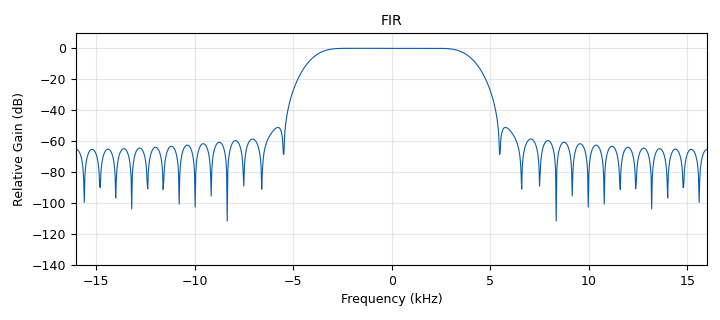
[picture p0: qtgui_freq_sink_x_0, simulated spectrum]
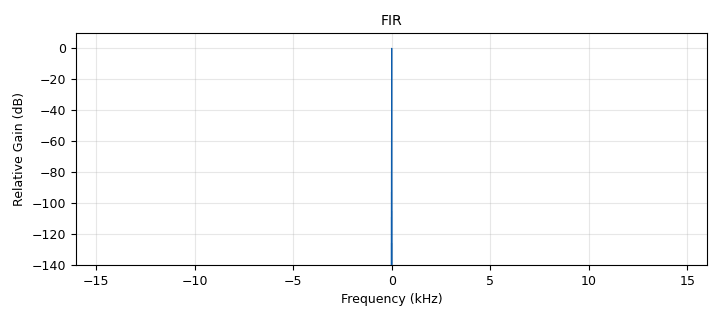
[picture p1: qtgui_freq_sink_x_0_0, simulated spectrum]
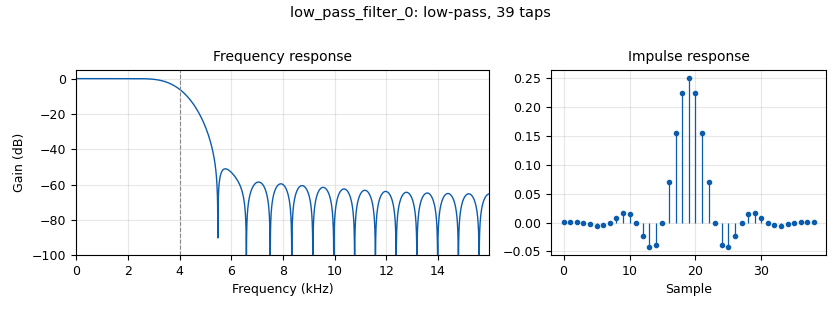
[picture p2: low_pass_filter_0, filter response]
options:
  parameters:
    generate_options: qt_gui
    id: fir_lowpass
    output_language: python
    title: Not titled yet
  states: {}

blocks:
- name: N
  id: variable
  parameters:
    value: '1024'
  states: {}
- name: frequency
  id: variable_qtgui_range
  parameters:
    label: frequency
    start: '-samp_rate/2'
    step: '1'
    stop: samp_rate/2
    value: '0'
  states: {}
- name: samp_rate
  id: variable
  parameters:
    value: '32000'
  states: {}
- name: switcher
  id: variable_qtgui_toggle_switch
  parameters:
    initPressed: 'False'
    label: switcher
    pressed: '1'
    released: '0'
    type: int
    value: '0'
  states: {}
- name: analog_noise_source_x_0_0
  id: analog_noise_source_x
  parameters:
    amp: '1'
    noise_type: analog.GR_GAUSSIAN
    seed: '0'
    type: float
  states: {}
- name: analog_sig_source_x_0
  id: analog_sig_source_x
  parameters:
    amp: '1'
    freq: frequency
    offset: '0'
    phase: '0'
    samp_rate: samp_rate
    type: float
    waveform: analog.GR_COS_WAVE
  states: {}
- name: blocks_selector_0
  id: blocks_selector
  parameters:
    enabled: 'True'
    input_index: switcher
    num_inputs: '2'
    num_outputs: '1'
    output_index: '0'
    type: float
  states: {}
- name: blocks_throttle2_0
  id: blocks_throttle2
  parameters:
    samples_per_second: samp_rate
    type: float
  states: {}
- name: blocks_throttle2_0_0
  id: blocks_throttle2
  parameters:
    samples_per_second: samp_rate
    type: float
  states: {}
- name: blocks_vector_source_x_0
  id: blocks_vector_source_x
  parameters:
    repeat: 'True'
    type: float
    vector: (N,)+(0,)*int(N-1)
  states: {}
- name: low_pass_filter_0
  id: low_pass_filter
  parameters:
    cutoff_freq: samp_rate/8
    decim: '1'
    gain: '1'
    samp_rate: samp_rate
    type: fir_filter_fff
    width: samp_rate/16
    win: window.WIN_HAMMING
  states: {}
- name: low_pass_filter_0_0
  id: low_pass_filter
  parameters:
    cutoff_freq: samp_rate/8
    decim: '1'
    gain: '1'
    samp_rate: samp_rate
    type: fir_filter_fff
    width: samp_rate/16
    win: window.WIN_HAMMING
  states: {}
- name: qtgui_freq_sink_x_0
  id: qtgui_freq_sink_x
  parameters:
    bw: samp_rate
    fc: '0'
    fftsize: N
    name: '"FIR"'
    type: float
    wintype: window.WIN_RECTANGULAR
  states: {}
- name: qtgui_freq_sink_x_0_0
  id: qtgui_freq_sink_x
  parameters:
    bw: samp_rate
    fc: '0'
    fftsize: N
    name: '"FIR"'
    type: float
    wintype: window.WIN_RECTANGULAR
  states: {}

connections:
- [analog_noise_source_x_0_0, '0', blocks_selector_0, '1']
- [analog_sig_source_x_0, '0', blocks_selector_0, '0']
- [blocks_selector_0, '0', low_pass_filter_0_0, '0']
- [blocks_throttle2_0, '0', qtgui_freq_sink_x_0, '0']
- [blocks_throttle2_0_0, '0', qtgui_freq_sink_x_0_0, '0']
- [blocks_vector_source_x_0, '0', low_pass_filter_0, '0']
- [low_pass_filter_0, '0', blocks_throttle2_0, '0']
- [low_pass_filter_0_0, '0', blocks_throttle2_0_0, '0']

metadata:
  file_format: 1
  grc_version: 3.10.10.0
